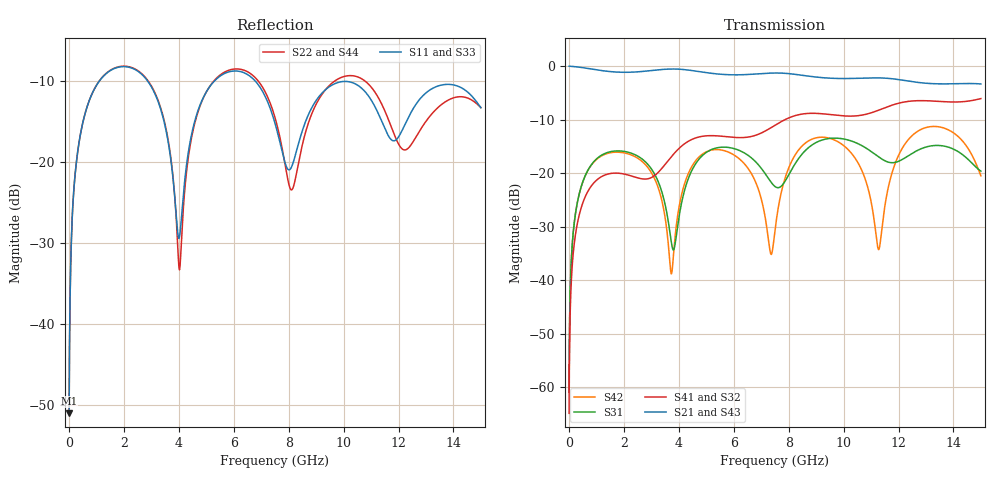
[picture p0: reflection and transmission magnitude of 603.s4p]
! Created with skrf 1.8.0 (http://scikit-rf.org).
# GHz S RI R 50.0
!freq ReS11 ImS11 ReS12 ImS12 ReS13 ImS13
! ReS14 ImS14
! ReS21 ImS21 ReS22 ImS22 ReS23 ImS23
! ReS24 ImS24
! ReS31 ImS31 ReS32 ImS32 ReS33 ImS33
! ReS34 ImS34
! ReS41 ImS41 ReS42 ImS42 ReS43 ImS43
! ReS44 ImS44
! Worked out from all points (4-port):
!   2499 points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, 5 MHz to 15 GHz, reference 50 ohm
!   strongest paths, dB at 5 MHz, 3.476 GHz, 7.19 GHz, 11.1 GHz, 15 GHz:
!     S21: 0.0, -0.6, -1.3, -2.2, -3.3
!     S43: 0.0, -0.6, -1.4, -2.2, -3.3
!     S41: -64.8, -18.5, -12.0, -8.6, -6.1
!     S32: -64.8, -18.5, -12.0, -8.6, -6.1
!     S31: -60.9, -25.3, -20.4, -16.3, -19.6
!     S42: -60.9, -27.5, -29.7, -28.2, -20.5
!   lowest |S11| = -51.1 dB at 5 MHz (marker M1), VSWR 1.01, Z = 50.2 + j0.17 ohm
!   |S11| at or under -10 dB: start of sweep to 1.098 GHz; 2.874 GHz to 5.284 GHz (2.41 GHz wide, 59.1 % of centre); 6.793 GHz to end of sweep
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0.005  0.00223 0.00169  0.9977 -0.00433  0.000115 0.000897  -0.000111 -0.000561
       0.9977 -0.00433  0.00223 0.00169  -0.000111 -0.000561  0.000114 0.000897
       0.000115 0.000897  -0.000111 -0.000561  0.00223 0.00169  0.9977 -0.00433
       -0.000111 -0.000561  0.000114 0.000897  0.9977 -0.00433  0.00223 0.00169
0.2626094  0.031 0.0925  0.9578 -0.2257  0.0147 0.0439  -0.012 -0.027
           0.9578 -0.2257  0.0311 0.0925  -0.012 -0.027  0.0141 0.0441
           0.0147 0.0439  -0.012 -0.027  0.031 0.0925  0.9578 -0.2257
           -0.012 -0.027  0.0141 0.0441  0.9578 -0.2257  0.0311 0.0925
1.269279  0.302 0.1613  0.4722 -0.7683  0.1441 0.0455  -0.0949 0.00688
          0.4722 -0.7683  0.3046 0.1592  -0.0948 0.00674  0.1374 0.0566
          0.1441 0.0455  -0.0948 0.00674  0.3021 0.1612  0.4723 -0.7683
          -0.0949 0.00688  0.1374 0.0566  0.4723 -0.7683  0.3045 0.1592
3.990909  0.0337 -0.00467  -0.9317 -0.0846  -0.00956 0.0355  -0.00977 0.1684
          -0.9317 -0.0846  0.0214 -0.011  -0.0117 0.1683  0.0178 0.0418
          -0.00956 0.0355  -0.0117 0.1683  0.0332 -0.00354  -0.9317 -0.0844
          -0.00977 0.1684  0.0178 0.0418  -0.9317 -0.0844  0.0216 -0.0099
7.978324  0.0892 -0.0128  0.8317 0.1812  -0.045 0.0825  0.0625 -0.3198
          0.8317 0.1812  0.0673 -0.037  0.0691 -0.3184  0.00414 0.1081
          -0.045 0.0825  0.0691 -0.3184  0.0904 -0.0134  0.8312 0.1833
          0.0625 -0.3198  0.00414 0.1081  0.8312 0.1833  0.0665 -0.0395
12.06753  0.1449 0.0377  -0.7182 -0.193  -0.09 0.0957  -0.106 0.4414
          -0.7182 -0.193  0.1162 -0.044  -0.1218 0.4388  0.0281 0.1561
          -0.09 0.0957  -0.1218 0.4388  0.1365 0.0375  -0.7173 -0.198
          -0.106 0.4414  0.0281 0.1561  -0.7173 -0.198  0.1222 -0.046
15  0.2103 -0.054  0.2405 0.6368  -0.0499 -0.0918  0.4567 -0.1959
    0.2405 0.6368  0.2154 -0.0329  0.4651 -0.1755  -0.0171 -0.0929
    -0.0499 -0.0918  0.4651 -0.1755  0.2032 -0.0557  0.2339 0.6408
    0.4567 -0.1959  -0.0171 -0.0929  0.2339 0.6408  0.2133 -0.0236
